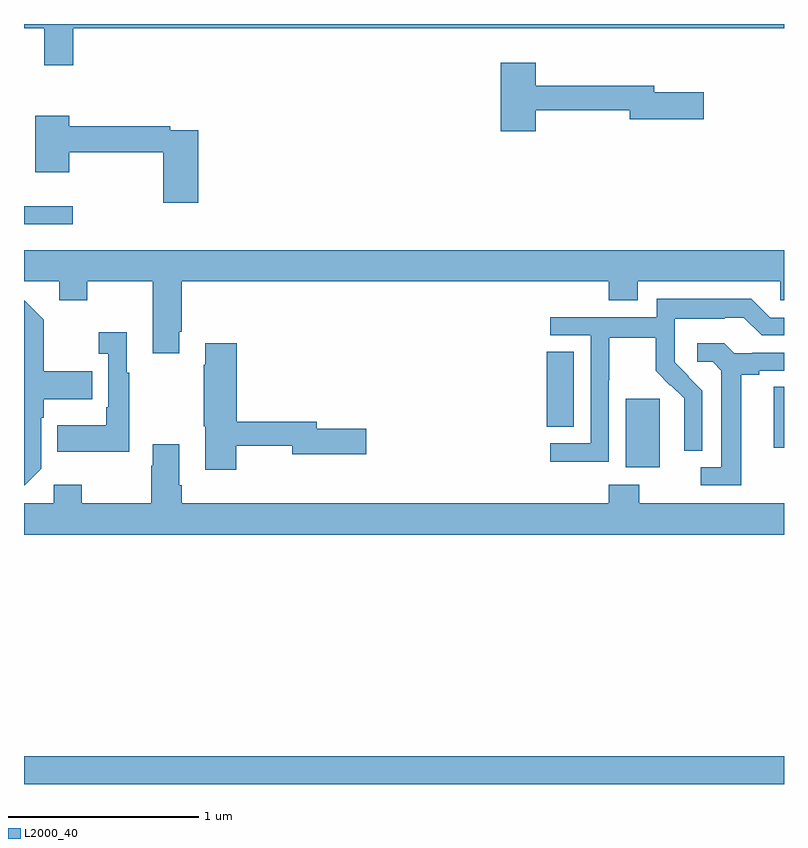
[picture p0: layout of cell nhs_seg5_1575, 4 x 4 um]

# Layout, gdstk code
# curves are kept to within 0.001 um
import gdstk
lib = gdstk.Library(unit=1e-6, precision=1e-09)
def R(c, l, rs):  # rectangles x0, y0, x1, y1
    for r in rs: c.add(gdstk.rectangle(r[:2], r[2:], *l))
def P(c, l, *ps):  # polygons
    for p in ps: c.add(gdstk.Polygon(p, *l))
L2000_40 = (2000, 40)

nhs_seg5_1575 = lib.new_cell('nhs_seg5_1575')
R(nhs_seg5_1575, L2000_40, [(207,836.799,211,836.944), (210.167,838.466,210.346,838.827), (210.947,838.569,211,838.889), (209.75,838.678,209.893,839.075), (207,839.744,207.256,839.841)])
P(nhs_seg5_1575, L2000_40, [(207.26,840.776),(211,840.776),(211,840.799),(207,840.799),(207,840.776),(207.107,840.776),(207.107,840.582),(207.26,840.582)],
  [(209.693,840.346),(210.188,840.346),(210.188,840.299),(210.577,840.299),(210.577,840.441),(210.316,840.441),(210.316,840.475),(209.693,840.475),(209.693,840.595),(209.51,840.595),(209.51,840.234),(209.693,840.234)],
  [(207.917,840.24),(207.77,840.24),(207.77,840.26),(207.238,840.26),(207.238,840.316),(207.059,840.316),(207.059,840.02),(207.238,840.02),(207.238,840.124),(207.734,840.124),(207.734,839.859),(207.917,839.859)],
  [(207.817,839.179),(207.83,839.179),(207.83,839.444),(210.077,839.444),(210.077,839.345),(210.229,839.345),(210.229,839.444),(210.981,839.444),(210.981,839.346),(211,839.346),(211,839.608),(207,839.608),(207,839.444),(207.185,839.444),(207.185,839.345),(207.333,839.345),(207.333,839.444),(207.677,839.444),(207.677,839.067),(207.817,839.067)],
  [(210.078,838.924),(210.081,838.924),(210.081,839.148),(210.325,839.148),(210.325,838.973),(210.402,838.896),(210.405,838.899),(210.476,838.829),(210.476,838.706),(210.474,838.706),(210.474,838.552),(210.57,838.552),(210.57,838.87),(210.424,839.018),(210.424,839.115),(210.426,839.115),(210.426,839.249),(210.689,839.249),(210.689,839.253),(210.789,839.253),(210.882,839.16),(211,839.16),(211,839.253),(210.927,839.253),(210.827,839.353),(210.33,839.353),(210.33,839.256),(209.769,839.256),(209.769,839.16),(209.982,839.16),(209.982,838.593),(209.769,838.593),(209.769,838.495),(210.078,838.495)],
  [(207.09,838.458),(207.09,838.727),(207.103,838.727),(207.103,838.823),(207.359,838.823),(207.359,838.971),(207.103,838.971),(207.103,839.243),(207,839.346),(207,838.371),(207.003,838.371)],
  [(207.553,838.963),(207.541,838.963),(207.541,839.176),(207.393,839.176),(207.393,839.063),(207.444,839.063),(207.444,838.783),(207.432,838.783),(207.432,838.687),(207.175,838.687),(207.175,838.547),(207.553,838.547)],
  [(208.116,838.578),(208.412,838.578),(208.412,838.535),(208.801,838.535),(208.801,838.67),(208.54,838.67),(208.54,838.706),(208.121,838.706),(208.121,839.119),(207.953,839.119),(207.953,839.006),(207.946,839.006),(207.946,838.683),(207.953,838.683),(207.953,838.452),(208.116,838.452)],
  [(210.775,838.952),(210.871,838.952),(210.871,838.974),(211,838.974),(211,839.07),(210.832,839.07),(210.832,839.067),(210.738,839.067),(210.686,839.119),(210.543,839.119),(210.543,839.022),(210.624,839.022),(210.671,838.975),(210.671,838.467),(210.561,838.467),(210.561,838.371),(210.775,838.371)],
  [(207.156,838.375),(207.156,838.276),(207,838.276),(207,838.112),(211,838.112),(211,838.276),(210.237,838.276),(210.237,838.375),(210.077,838.375),(210.077,838.276),(207.83,838.276),(207.83,838.372),(207.817,838.372),(207.817,838.588),(207.677,838.588),(207.677,838.475),(207.67,838.475),(207.67,838.276),(207.303,838.276),(207.303,838.375)])

lib.write_gds('nhs_seg5_1575.gds')
